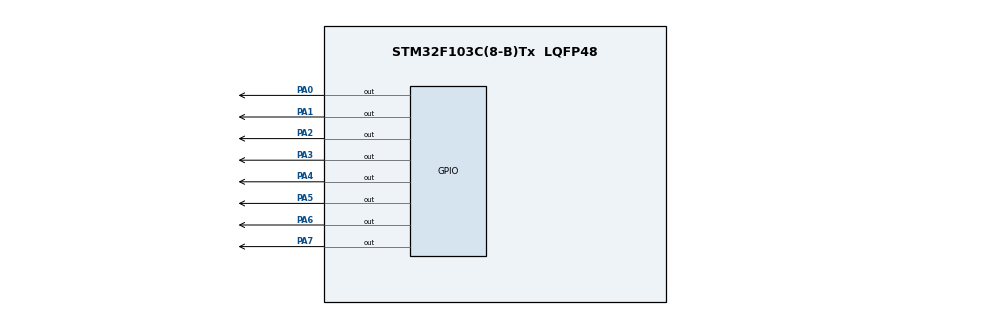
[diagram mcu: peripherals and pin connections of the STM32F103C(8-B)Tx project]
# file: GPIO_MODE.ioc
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Mcu.Family=STM32F1
Mcu.Name=STM32F103C(8-B)Tx
Mcu.Package=LQFP48
NVIC.PriorityGroup=NVIC_PRIORITYGROUP_4
PA0-WKUP.Signal=GPIO_Output
PA1.Signal=GPIO_Output
PA2.Signal=GPIO_Output
PA3.Signal=GPIO_Output
PA4.Signal=GPIO_Output
PA5.Signal=GPIO_Output
PA6.Signal=GPIO_Output
PA7.Signal=GPIO_Output
ProjectManager.HeapSize=0x200
ProjectManager.StackSize=0x400
ProjectManager.TargetToolchain=MDK-ARM V5
RCC.APB1Freq_Value=8000000
RCC.APB2Freq_Value=8000000
VP_SYS_VS_ND.Mode=No_Debug
board=custom

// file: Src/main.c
/* USER CODE BEGIN Header */
/**
  ******************************************************************************
  * @file           : main.c
  * @brief          : Main program body
  ******************************************************************************
  * @attention
  *
  * Copyright (c) 2024 STMicroelectronics.
  * All rights reserved.
  *
  * This software is licensed under terms that can be found in the LICENSE file
  * in the root directory of this software component.
  * If no LICENSE file comes with this software, it is provided AS-IS.
  *
  ******************************************************************************
  */
/* USER CODE END Header */
#include "main.h"

void SystemClock_Config(void);
static void MX_GPIO_Init(void);

int main(void)
{

  /* MCU Configuration--------------------------------------------------------*/

  /* Reset of all peripherals, Initializes the Flash interface and the Systick. */
  HAL_Init();

  /* Configure the system clock */
  SystemClock_Config();

  /* Initialize all configured peripherals */
  MX_GPIO_Init();

  /* Infinite loop */
  while (1)
  {

    /* USER CODE BEGIN 3 */
		char leds[8] =
		{
			0x0001,
      0x0002,
      0x0004,
      0x0008,
      0x0010,
      0x0020,
      0x0040,
			0x0080,
		};

		for(int j=0; j < 8; j++){
			HAL_Delay(200);
			HAL_GPIO_WritePin(GPIOA, leds[j], GPIO_PIN_RESET);
			HAL_Delay(200);
			HAL_GPIO_WritePin(GPIOA, leds[j], GPIO_PIN_SET);
		}

  }
  /* USER CODE END 3 */
}

void SystemClock_Config(void)
{
  RCC_OscInitTypeDef RCC_OscInitStruct = {0};
  RCC_ClkInitTypeDef RCC_ClkInitStruct = {0};

  /** Initializes the RCC Oscillators according to the specified parameters
  * in the RCC_OscInitTypeDef structure.
  */
  RCC_OscInitStruct.OscillatorType = RCC_OSCILLATORTYPE_HSI;
  RCC_OscInitStruct.HSIState = RCC_HSI_ON;
  RCC_OscInitStruct.HSICalibrationValue = RCC_HSICALIBRATION_DEFAULT;
  RCC_OscInitStruct.PLL.PLLState = RCC_PLL_NONE;
  if (HAL_RCC_OscConfig(&RCC_OscInitStruct) != HAL_OK)
  {
    Error_Handler();
  }

  /** Initializes the CPU, AHB and APB buses clocks
  */
  RCC_ClkInitStruct.ClockType = RCC_CLOCKTYPE_HCLK|RCC_CLOCKTYPE_SYSCLK
                              |RCC_CLOCKTYPE_PCLK1|RCC_CLOCKTYPE_PCLK2;
  RCC_ClkInitStruct.SYSCLKSource = RCC_SYSCLKSOURCE_HSI;
  RCC_ClkInitStruct.AHBCLKDivider = RCC_SYSCLK_DIV1;
  RCC_ClkInitStruct.APB1CLKDivider = RCC_HCLK_DIV1;
  RCC_ClkInitStruct.APB2CLKDivider = RCC_HCLK_DIV1;

  if (HAL_RCC_ClockConfig(&RCC_ClkInitStruct, FLASH_LATENCY_0) != HAL_OK)
  {
    Error_Handler();
  }
}

static void MX_GPIO_Init(void)
{
  GPIO_InitTypeDef GPIO_InitStruct = {0};

  /* GPIO Ports Clock Enable */
  __HAL_RCC_GPIOA_CLK_ENABLE();

  /*Configure GPIO pin Output Level */
  HAL_GPIO_WritePin(GPIOA, GPIO_PIN_0|GPIO_PIN_1|GPIO_PIN_2|GPIO_PIN_3
                          |GPIO_PIN_4|GPIO_PIN_5|GPIO_PIN_6|GPIO_PIN_7, GPIO_PIN_RESET);

  /*Configure GPIO pins : PA0 PA1 PA2 PA3
                           PA4 PA5 PA6 PA7 */
  GPIO_InitStruct.Pin = GPIO_PIN_0|GPIO_PIN_1|GPIO_PIN_2|GPIO_PIN_3
                          |GPIO_PIN_4|GPIO_PIN_5|GPIO_PIN_6|GPIO_PIN_7;
  GPIO_InitStruct.Mode = GPIO_MODE_OUTPUT_PP;
  GPIO_InitStruct.Pull = GPIO_NOPULL;
  GPIO_InitStruct.Speed = GPIO_SPEED_FREQ_LOW;
  HAL_GPIO_Init(GPIOA, &GPIO_InitStruct);

}

void Error_Handler(void)
{
  __disable_irq();
  while (1)
  {
  }
}
